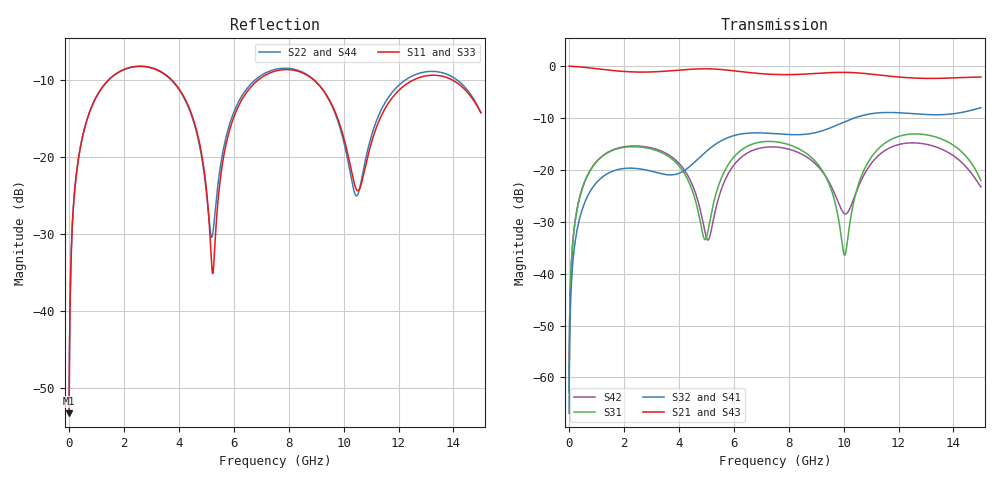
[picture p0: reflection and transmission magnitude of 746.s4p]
! Created with skrf 1.8.0 (http://scikit-rf.org).
# GHz S RI R 50.0
!freq ReS11 ImS11 ReS12 ImS12 ReS13 ImS13
! ReS14 ImS14
! ReS21 ImS21 ReS22 ImS22 ReS23 ImS23
! ReS24 ImS24
! ReS31 ImS31 ReS32 ImS32 ReS33 ImS33
! ReS34 ImS34
! ReS41 ImS41 ReS42 ImS42 ReS43 ImS43
! ReS44 ImS44
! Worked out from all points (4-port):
!   2499 points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, 5 MHz to 15 GHz, reference 50 ohm
!   strongest paths, dB at 5 MHz, 3.476 GHz, 7.19 GHz, 11.1 GHz, 15 GHz:
!     S21: 0.0, -1.0, -1.5, -1.6, -2.1
!     S43: 0.0, -1.0, -1.5, -1.6, -2.1
!     S32: -66.9, -20.9, -12.9, -9.1, -8.0
!     S41: -66.9, -20.9, -12.9, -9.1, -8.0
!     S31: -62.8, -16.9, -14.5, -16.9, -22.1
!     S42: -62.8, -16.7, -15.6, -18.2, -23.3
!   lowest |S11| = -53.4 dB at 5 MHz (marker M1), VSWR 1.00, Z = 50.2 + j0.13 ohm
!   |S11| at or under -10 dB: start of sweep to 1.441 GHz; 3.742 GHz to 6.89 GHz (3.147 GHz wide, 59.2 % of centre); 8.915 GHz to 12.54 GHz (3.629 GHz wide, 33.8 % of centre) (the widest 3 of 4)
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0.005  0.00171 0.0013  0.9983 -0.00334  8.76e-05 0.000717  -8.49e-05 -0.000444
       0.9983 -0.00334  0.00171 0.0013  -8.49e-05 -0.000444  8.76e-05 0.000717
       8.76e-05 0.000717  -8.49e-05 -0.000444  0.00171 0.0013  0.9983 -0.00334
       -8.49e-05 -0.000444  8.76e-05 0.000717  0.9983 -0.00334  0.00171 0.0013
0.3626511  0.0326 0.0967  0.9549 -0.2381  0.0161 0.0481  -0.0134 -0.029
           0.9549 -0.2381  0.0326 0.0967  -0.0134 -0.029  0.0165 0.048
           0.0161 0.0481  -0.0134 -0.029  0.0326 0.0967  0.9549 -0.2381
           -0.0134 -0.029  0.0165 0.048  0.9549 -0.2381  0.0326 0.0967
1.619545  0.2956 0.1629  0.4889 -0.7611  0.1432 0.0602  -0.0975 0.00475
          0.4889 -0.7611  0.2941 0.164  -0.0976 0.00491  0.1473 0.0537
          0.1432 0.0602  -0.0976 0.00491  0.2956 0.163  0.4889 -0.7611
          -0.0975 0.00475  0.1473 0.0537  0.4889 -0.7611  0.2942 0.1639
5.233431  0.0174 -0.000573  -0.9358 -0.0675  0.03 0.032  -0.00851 0.1688
          -0.9358 -0.0675  0.0303 0.00843  -0.00584 0.1689  -0.0152 0.0267
          0.03 0.032  -0.00584 0.1689  0.0194 -0.00168  -0.9358 -0.0676
          -0.00851 0.1688  -0.0152 0.0267  -0.9358 -0.0676  0.0284 0.00725
8.090871  0.3677 -0.0201  -0.016 0.8281  0.1413 -0.0981  0.2099 -0.0575
          -0.016 0.8281  0.3726 -0.0376  0.2095 -0.0623  0.1353 -0.0777
          0.1413 -0.0981  0.2095 -0.0623  0.3675 -0.0225  -0.0151 0.8278
          0.2099 -0.0575  0.1353 -0.0777  -0.0151 0.8278  0.3738 -0.0361
10.85452  0.0758 0.0593  0.843 -0.0507  0.0664 0.0924  -0.0346 -0.3401
          0.843 -0.0507  0.0781 0.072  -0.044 -0.3391  0.0282 0.0967
          0.0664 0.0924  -0.044 -0.3391  0.075 0.0536  0.8432 -0.0515
          -0.0346 -0.3401  0.0282 0.0967  0.8432 -0.0515  0.0779 0.0689
15  0.1624 -0.1056  -0.5771 -0.5304  -0.0446 -0.0652  -0.265 0.2959
    -0.5771 -0.5304  0.1458 -0.1277  -0.2524 0.3066  -0.0506 -0.046
    -0.0446 -0.0652  -0.2524 0.3066  0.1557 -0.1044  -0.583 -0.5255
    -0.265 0.2959  -0.0506 -0.046  -0.583 -0.5255  0.1425 -0.1233
